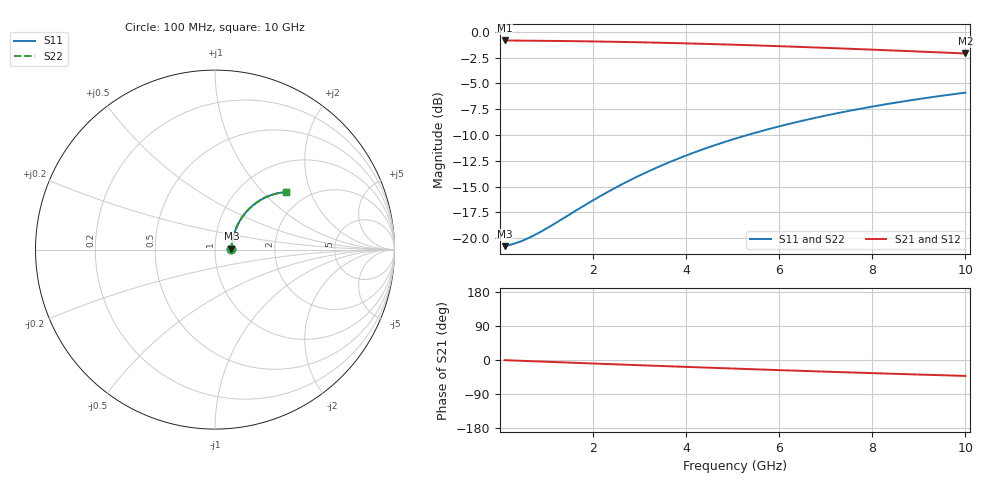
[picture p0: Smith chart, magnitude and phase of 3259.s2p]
# Hz S RI R 50.00
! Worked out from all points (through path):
!   100 points, 100 MHz to 10 GHz, reference 50 ohm
!   highest |S21| = -0.83 dB at 100 MHz (marker M1); lowest = -2.1 dB at 10 GHz (marker M2)
!   group delay of S21, straight-line fit = 11.7 ps
!   lowest |S11| = -20.8 dB at 100 MHz (marker M3), VSWR 1.20, Z = 60 + j0.648 ohm
!   |S11| at or under -10 dB: start of sweep to 5.315 GHz
!   |S22| runs from -20.8 to -5.9 dB; largest |S21 - S12| = 0
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1e8  0.0913 0.00535  0.9087 -0.00736  0.9087 -0.00736  0.0913 0.00535
3e8  0.0926 0.016  0.9073 -0.022  0.9073 -0.022  0.0926 0.016
4e8  0.0933 0.0213  0.9067 -0.0294  0.9067 -0.0294  0.0933 0.0213
5e8  0.0939 0.0266  0.906 -0.0367  0.906 -0.0367  0.0939 0.0266
7e8  0.0954 0.0372  0.9045 -0.0513  0.9045 -0.0513  0.0954 0.0372
9e8  0.0972 0.0476  0.9027 -0.0658  0.9027 -0.0658  0.0972 0.0476
1.1e9  0.0992 0.058  0.9005 -0.0802  0.9005 -0.0802  0.0992 0.058
1.8e9  0.1087 0.0937  0.8906 -0.13  0.8906 -0.13  0.1087 0.0937
2.2e9  0.1157 0.1134  0.8832 -0.1578  0.8832 -0.1578  0.1157 0.1134
2.6e9  0.1239 0.1325  0.8746 -0.185  0.8746 -0.185  0.1239 0.1325
3e9  0.1332 0.1509  0.8649 -0.2115  0.8649 -0.2115  0.1332 0.1509
3.4e9  0.1435 0.1686  0.854 -0.2373  0.854 -0.2373  0.1435 0.1686
3.8e9  0.1548 0.1854  0.842 -0.2622  0.842 -0.2622  0.1548 0.1854
4.2e9  0.167 0.2014  0.8292 -0.2863  0.8292 -0.2863  0.167 0.2014
4.6e9  0.18 0.2164  0.8154 -0.3095  0.8154 -0.3095  0.18 0.2164
5.1e9  0.1973 0.2338  0.7971 -0.3371  0.7971 -0.3371  0.1973 0.2338
5.9e9  0.2268 0.2583  0.7656 -0.378  0.7656 -0.378  0.2268 0.2583
6.7e9  0.2581 0.2787  0.7321 -0.4148  0.7321 -0.4148  0.2581 0.2787
7.5e9  0.2906 0.2949  0.6971 -0.4476  0.6971 -0.4476  0.2906 0.2949
8.4e9  0.3278 0.3083  0.6566 -0.4798  0.6566 -0.4798  0.3278 0.3083
9.2e9  0.3609 0.3162  0.6204 -0.5045  0.6204 -0.5045  0.3609 0.3162
1e10  0.3935 0.3205  0.5842 -0.5257  0.5842 -0.5257  0.3935 0.3205
